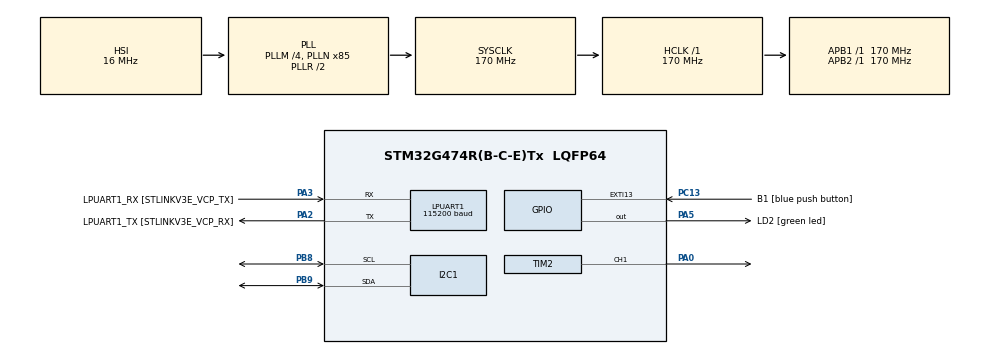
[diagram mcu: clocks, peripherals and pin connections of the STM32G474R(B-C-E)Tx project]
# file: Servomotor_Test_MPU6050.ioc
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I2C1.Timing=0x40B285C2
LPUART1.BaudRate=115200
Mcu.Family=STM32G4
Mcu.Name=STM32G474R(B-C-E)Tx
Mcu.Package=LQFP64
NVIC.EXTI15_10_IRQn=true\:0\:0\:false\:false\:true\:true\:true\:true
NVIC.PriorityGroup=NVIC_PRIORITYGROUP_4
NVIC.TIM1_UP_TIM16_IRQn=true\:0\:0\:false\:true\:true\:1\:true\:true\:true
NVIC.TIM2_IRQn=true\:0\:0\:false\:true\:true\:2\:true\:true\:true
PA0.Signal=S_TIM2_CH1
PA13.GPIO_Label=T_SWDIO
PA13.Mode=Serial_Wire
PA13.Signal=SYS_JTMS-SWDIO
PA14.GPIO_Label=T_SWCLK
PA14.Mode=Serial_Wire
PA14.Signal=SYS_JTCK-SWCLK
PA2.GPIO_Label=LPUART1_TX [STLINKV3E_VCP_RX]
PA2.Mode=Asynchronous
PA2.Signal=LPUART1_TX
PA3.GPIO_Label=LPUART1_RX [STLINKV3E_VCP_TX]
PA3.Mode=Asynchronous
PA3.Signal=LPUART1_RX
PA5.GPIO_Label=LD2 [green led]
PA5.Signal=GPIO_Output
PB3.GPIO_Label=T_SWO
PB3.Signal=SYS_JTDO-SWO
PB8-BOOT0.Mode=I2C
PB8-BOOT0.Signal=I2C1_SCL
PB9.Mode=I2C
PB9.Signal=I2C1_SDA
PC13.GPIO_Label=B1 [blue push button]
PC13.Signal=GPXTI13
PC14-OSC32_IN.GPIO_Label=RCC_OSC32_IN
PC14-OSC32_IN.Mode=LSE-External-Oscillator
PC14-OSC32_IN.Signal=RCC_OSC32_IN
PC15-OSC32_OUT.GPIO_Label=RCC_OSC32_OUT
PC15-OSC32_OUT.Mode=LSE-External-Oscillator
PC15-OSC32_OUT.Signal=RCC_OSC32_OUT
PF0-OSC_IN.GPIO_Label=RCC_OSC_IN
PF0-OSC_IN.Mode=HSE-External-Oscillator
PF0-OSC_IN.Signal=RCC_OSC_IN
PF1-OSC_OUT.GPIO_Label=RCC_OSC_OUT
PF1-OSC_OUT.Mode=HSE-External-Oscillator
PF1-OSC_OUT.Signal=RCC_OSC_OUT
ProjectManager.HeapSize=0x200
ProjectManager.StackSize=0x400
ProjectManager.TargetToolchain=STM32CubeIDE
RCC.ADC12Freq_Value=170000000
RCC.ADC345Freq_Value=170000000
RCC.AHBFreq_Value=170000000
RCC.APB1Freq_Value=170000000
RCC.APB1TimFreq_Value=170000000
RCC.APB2Freq_Value=170000000
RCC.APB2TimFreq_Value=170000000
RCC.CortexFreq_Value=170000000
RCC.EXTERNAL_CLOCK_VALUE=12288000
RCC.HCLKFreq_Value=170000000
RCC.HSE_VALUE=24000000
RCC.HSI48_VALUE=48000000
RCC.HSI_VALUE=16000000
RCC.PLLM=RCC_PLLM_DIV4
RCC.PLLN=85
RCC.RTCClockSelection=RCC_RTCCLKSOURCE_LSE
RCC.SYSCLKFreq_VALUE=170000000
RCC.SYSCLKSource=RCC_SYSCLKSOURCE_PLLCLK
RCC.USBFreq_Value=170000000
RCC.VCOOutputFreq_Value=340000000
SH.S_TIM2_CH1.0=TIM2_CH1,PWM Generation1 CH1
TIM1.Channel-Output\ Compare1\ No\ Output=TIM_CHANNEL_1
TIM1.PeriodNoDither=99
TIM1.Prescaler=16999
TIM2.Channel-PWM\ Generation1\ CH1=TIM_CHANNEL_1
TIM2.PeriodNoDither=19999
TIM2.Prescaler=169
VP_SYS_VS_DBSignals.Mode=DisableDeadBatterySignals
VP_TIM1_VS_ClockSourceINT.Mode=Internal
VP_TIM1_VS_no_output1.Mode=Output Compare1 No Output
VP_TIM2_VS_ClockSourceINT.Mode=Internal
board=NUCLEO-G474RE

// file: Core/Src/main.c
/* USER CODE BEGIN Header */
/**
  ******************************************************************************
  * @file           : main.c
  * @brief          : Main program body
  ******************************************************************************
  * @attention
  *
  * Copyright (c) 2025 STMicroelectronics.
  * All rights reserved.
  *
  * This software is licensed under terms that can be found in the LICENSE file
  * in the root directory of this software component.
  * If no LICENSE file comes with this software, it is provided AS-IS.
  *
  ******************************************************************************
  */
/* USER CODE END Header */
#include "main.h"
#include "i2c.h"
#include "usart.h"
#include "tim.h"
#include "gpio.h"

/* USER CODE BEGIN Includes */
#include "SerwoSimple.h"
#include <math.h>
#include <string.h>
#include <stdio.h>
#include <MPU6050.h>
/* USER CODE END Includes */

/* USER CODE BEGIN PD */
#define PI 3.14159265
/* USER CODE END PD */

/* USER CODE BEGIN PV */
// Flag set by Timer Interrupt (10Hz) to trigger data transmission
volatile uint8_t InterruptFlag = 0;
// Current servo angle
uint16_t CurrentAngle = 0;

//MPU6050
MPU6050_t MPU6050;
float Roll, Pitch, Yaw;
Data_t AccelCalibrate;
Data_t GyroCalibrate;
uint8_t TMP = 0;

/* USER CODE END PV */

void SystemClock_Config(void);
static void MX_NVIC_Init(void);
/* USER CODE BEGIN PFP */
void SetAngle_WithGlobalUpdate(uint16_t Angle, uint8_t Mode);
void My_SmartDelay(uint32_t delay_ms);
void Servo_MoveSlowly(uint16_t startAngle, uint16_t endAngle, uint8_t speedDelay);
void Check_And_Report(void);

// Servo motion
void Motion_StepResponse(void);
void Motion_Triangle(uint8_t speedDelay);
void Motion_SineHalf(uint8_t speedDelay);

/* USER CODE END PFP */

int main(void)
{

  /* MCU Configuration--------------------------------------------------------*/

  /* Reset of all peripherals, Initializes the Flash interface and the Systick. */
  HAL_Init();

  /* Configure the system clock */
  SystemClock_Config();

  /* Initialize all configured peripherals */
  MX_GPIO_Init();
  MX_LPUART1_UART_Init();
  MX_TIM2_Init();
  MX_TIM1_Init();
  MX_I2C1_Init();

  /* Initialize interrupts */
  MX_NVIC_Init();
  /* USER CODE BEGIN 2 */
  // Initialize MPU6050 module
  MPU6050_Init(&MPU6050, &hi2c1, 0x68);

  // Start PWM for servo motor
  HAL_TIM_PWM_Start(&htim2, TIM_CHANNEL_1);
  // Start interrupts for sampling (10Hz)
  HAL_TIM_Base_Start_IT(&htim1);

  /* USER CODE END 2 */

  /* Infinite loop */
  /* USER CODE BEGIN WHILE */
  while (1)
  {
	// Motion Sequence

	// 1. Step Response (0 -> 30deg -> 0)
	Motion_StepResponse();

	// 2. Triangle Wave
	Motion_Triangle(10);
	My_SmartDelay(1000);

	// 3. Sine Wave
	Motion_SineHalf(15);
	//Repeat

    /* USER CODE END WHILE */

  }
}

void SystemClock_Config(void)
{
  RCC_OscInitTypeDef RCC_OscInitStruct = {0};
  RCC_ClkInitTypeDef RCC_ClkInitStruct = {0};

  /** Configure the main internal regulator output voltage
  */
  HAL_PWREx_ControlVoltageScaling(PWR_REGULATOR_VOLTAGE_SCALE1_BOOST);

  /** Initializes the RCC Oscillators according to the specified parameters
  * in the RCC_OscInitTypeDef structure.
  */
  RCC_OscInitStruct.OscillatorType = RCC_OSCILLATORTYPE_HSI;
  RCC_OscInitStruct.HSIState = RCC_HSI_ON;
  RCC_OscInitStruct.HSICalibrationValue = RCC_HSICALIBRATION_DEFAULT;
  RCC_OscInitStruct.PLL.PLLState = RCC_PLL_ON;
  RCC_OscInitStruct.PLL.PLLSource = RCC_PLLSOURCE_HSI;
  RCC_OscInitStruct.PLL.PLLM = RCC_PLLM_DIV4;
  RCC_OscInitStruct.PLL.PLLN = 85;
  RCC_OscInitStruct.PLL.PLLP = RCC_PLLP_DIV2;
  RCC_OscInitStruct.PLL.PLLQ = RCC_PLLQ_DIV2;
  RCC_OscInitStruct.PLL.PLLR = RCC_PLLR_DIV2;
  if (HAL_RCC_OscConfig(&RCC_OscInitStruct) != HAL_OK)
  {
    Error_Handler();
  }

  /** Initializes the CPU, AHB and APB buses clocks
  */
  RCC_ClkInitStruct.ClockType = RCC_CLOCKTYPE_HCLK|RCC_CLOCKTYPE_SYSCLK
                              |RCC_CLOCKTYPE_PCLK1|RCC_CLOCKTYPE_PCLK2;
  RCC_ClkInitStruct.SYSCLKSource = RCC_SYSCLKSOURCE_PLLCLK;
  RCC_ClkInitStruct.AHBCLKDivider = RCC_SYSCLK_DIV1;
  RCC_ClkInitStruct.APB1CLKDivider = RCC_HCLK_DIV1;
  RCC_ClkInitStruct.APB2CLKDivider = RCC_HCLK_DIV1;

  if (HAL_RCC_ClockConfig(&RCC_ClkInitStruct, FLASH_LATENCY_4) != HAL_OK)
  {
    Error_Handler();
  }
}

/**
  * @brief NVIC Configuration.
  * @retval None
  */
static void MX_NVIC_Init(void)
{
  /* TIM1_UP_TIM16_IRQn interrupt configuration */
  HAL_NVIC_SetPriority(TIM1_UP_TIM16_IRQn, 0, 0);
  HAL_NVIC_EnableIRQ(TIM1_UP_TIM16_IRQn);
  /* TIM2_IRQn interrupt configuration */
  HAL_NVIC_SetPriority(TIM2_IRQn, 0, 0);
  HAL_NVIC_EnableIRQ(TIM2_IRQn);
}

/* USER CODE BEGIN 4 */
void HAL_TIM_PeriodElapsedCallback(TIM_HandleTypeDef *htim)
{
	if(htim->Instance == TIM1)
	{
		InterruptFlag = 1;
	}
}

// 1. Sent current angle via UART
void Check_And_Report(void)
{
    if (InterruptFlag == 1)
    {
        InterruptFlag = 0;
		 MPU6050_Angle(&MPU6050, &Roll, &Pitch, &Yaw);
        char buffer[32];
        // Send angle (devide 10 to get angle)
        int len = sprintf(buffer, "%.3f, %.3f\r\n", CurrentAngle / 10.0f, Roll);
        HAL_UART_Transmit(&hlpuart1, (uint8_t*)buffer, len, 100);
    }
}

// 2. Function to wait without blocking code
void My_SmartDelay(uint32_t delay_ms)
{
    uint32_t startTick = HAL_GetTick();
    while ((HAL_GetTick() - startTick) < delay_ms)
    {
        Check_And_Report();
    }
}

// 3. Set angle
void SetAngle_WithGlobalUpdate(uint16_t Angle, uint8_t Mode)
{
    CurrentAngle = Angle;
    SetAngle(Angle, Mode); //Servo liblary
}

// Movement functions
void Motion_StepResponse(void)
{
    // Go to 30deg and wait
    SetAngle_WithGlobalUpdate(300, 1);
    My_SmartDelay(3000); // Czekaj 4s (i raportuj)

    // Go back to 0 deg
    SetAngle_WithGlobalUpdate(0, 1);
    My_SmartDelay(1000);
}

void Motion_Triangle(uint8_t speedDelay)
{
    // Increasing angle
    for(uint16_t i = 0; i <= 300; i+=5) {
        SetAngle_WithGlobalUpdate(i, 1);
        My_SmartDelay(speedDelay);
    }
    // Decreasing angle
    for(uint16_t i = 300; i > 0; i-=5) {
        SetAngle_WithGlobalUpdate(i, 1);
        My_SmartDelay(speedDelay);
    }
    SetAngle_WithGlobalUpdate(0, 1);
}

void Motion_SineHalf(uint8_t speedDelay)
{
    float x;
    uint16_t amplitude = 300; // 30 deg

    for(x = 0; x <= 3.14; x += 0.03) {
        float sinVal = sin(x); // 0 -> 1 -> 0
        uint16_t pos = (uint16_t)(sinVal * amplitude);

        SetAngle_WithGlobalUpdate(pos, 1);
        My_SmartDelay(speedDelay);
    }
    SetAngle_WithGlobalUpdate(0, 1);
    My_SmartDelay(1000);
}

/* USER CODE END 4 */

void Error_Handler(void)
{
  __disable_irq();
  while (1)
  {
  }
}
